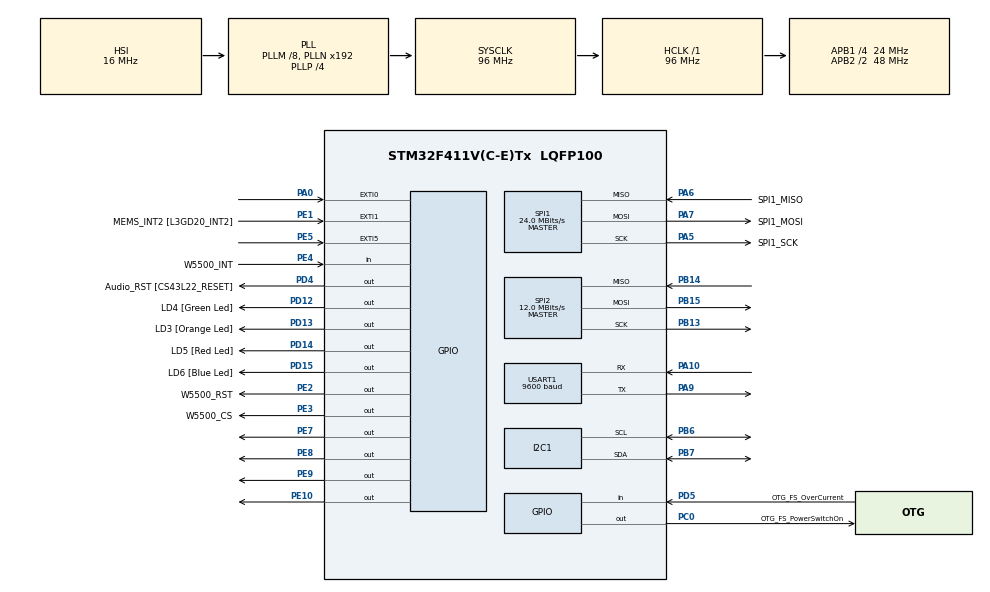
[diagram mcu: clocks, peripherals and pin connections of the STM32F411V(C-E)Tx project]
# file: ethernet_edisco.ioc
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I2C1.I2C_Mode=I2C_Fast
Mcu.Family=STM32F4
Mcu.Name=STM32F411V(C-E)Tx
Mcu.Package=LQFP100
NVIC.PriorityGroup=NVIC_PRIORITYGROUP_0
NVIC.SPI2_IRQn=true\:0\:0\:false\:false\:true\:true\:true\:true
NVIC.USART1_IRQn=true\:0\:0\:false\:false\:true\:true\:true\:true
PA0-WKUP.GPIO_ModeDefaultEXTI=GPIO_MODE_EVT_RISING
PA0-WKUP.Signal=GPXTI0
PA10.Mode=Asynchronous
PA10.Signal=USART1_RX
PA11.GPIO_Label=OTG_FS_DM
PA11.Signal=USB_OTG_FS_DM
PA12.GPIO_Label=OTG_FS_DP
PA12.Signal=USB_OTG_FS_DP
PA13.GPIO_Label=SWDIO
PA13.Signal=SYS_JTMS-SWDIO
PA14.GPIO_Label=SWCLK
PA14.Signal=SYS_JTCK-SWCLK
PA4.GPIO_Label=I2S3_WS [CS43L22_LRCK]
PA4.GPIO_Mode=GPIO_MODE_AF_PP
PA4.GPIO_PuPd=GPIO_NOPULL
PA4.GPIO_Speed=GPIO_SPEED_FREQ_LOW
PA4.Signal=I2S3_WS
PA5.GPIO_Label=SPI1_SCK
PA5.Mode=Full_Duplex_Master
PA5.Signal=SPI1_SCK
PA6.GPIO_Label=SPI1_MISO
PA6.Mode=Full_Duplex_Master
PA6.Signal=SPI1_MISO
PA7.GPIO_Label=SPI1_MOSI
PA7.Mode=Full_Duplex_Master
PA7.Signal=SPI1_MOSI
PA9.Mode=Asynchronous
PA9.Signal=USART1_TX
PB10.GPIO_Label=CLK_IN [MP45DT02_CLK]
PB10.Signal=I2S2_CK
PB12.Signal=I2S2_WS
PB13.Mode=Full_Duplex_Master
PB13.Signal=SPI2_SCK
PB14.Mode=Full_Duplex_Master
PB14.Signal=SPI2_MISO
PB15.Mode=Full_Duplex_Master
PB15.Signal=SPI2_MOSI
PB3.GPIO_Label=SWO
PB3.Signal=SYS_JTDO-SWO
PB6.Mode=I2C
PB6.Signal=I2C1_SCL
PB7.Mode=I2C
PB7.Signal=I2C1_SDA
PC0.GPIO_Label=OTG_FS_PowerSwitchOn
PC0.PinState=GPIO_PIN_SET
PC0.Signal=GPIO_Output
PC10.GPIO_Label=I2S3_SCK [CS43L22_SCLK]
PC10.GPIO_Mode=GPIO_MODE_AF_PP
PC10.GPIO_PuPd=GPIO_NOPULL
PC10.GPIO_Speed=GPIO_SPEED_FREQ_LOW
PC10.Signal=I2S3_CK
PC12.GPIO_Label=I2S3_SD [CS43L22_SDIN]
PC12.GPIO_Mode=GPIO_MODE_AF_PP
PC12.GPIO_PuPd=GPIO_NOPULL
PC12.GPIO_Speed=GPIO_SPEED_FREQ_LOW
PC12.Signal=I2S3_SD
PC14-OSC32_IN.GPIO_Label=PC14-OSC32_IN
PC14-OSC32_IN.Signal=RCC_OSC32_IN
PC15-OSC32_OUT.GPIO_Label=PC15-OSC32_OUT
PC15-OSC32_OUT.Signal=RCC_OSC32_OUT
PC3.GPIO_Label=PDM_OUT [MP45DT02_DOUT]
PC3.Signal=I2S2_SD
PC7.GPIO_Label=I2S3_MCK [CS43L22_MCLK]
PC7.GPIO_Mode=GPIO_MODE_AF_PP
PC7.GPIO_PuPd=GPIO_NOPULL
PC7.GPIO_Speed=GPIO_SPEED_FREQ_LOW
PC7.Signal=I2S3_MCK
PD12.GPIO_Label=LD4 [Green Led]
PD12.GPIO_PuPd=GPIO_NOPULL
PD12.GPIO_Speed=GPIO_SPEED_FREQ_LOW
PD12.Signal=GPIO_Output
PD13.GPIO_Label=LD3 [Orange Led]
PD13.GPIO_PuPd=GPIO_NOPULL
PD13.GPIO_Speed=GPIO_SPEED_FREQ_LOW
PD13.Signal=GPIO_Output
PD14.GPIO_Label=LD5 [Red Led]
PD14.GPIO_PuPd=GPIO_NOPULL
PD14.GPIO_Speed=GPIO_SPEED_FREQ_LOW
PD14.Signal=GPIO_Output
PD15.GPIO_Label=LD6 [Blue Led]
PD15.GPIO_PuPd=GPIO_NOPULL
PD15.GPIO_Speed=GPIO_SPEED_FREQ_LOW
PD15.Signal=GPIO_Output
PD4.GPIO_Label=Audio_RST [CS43L22_RESET]
PD4.Signal=GPIO_Output
PD5.GPIO_Label=OTG_FS_OverCurrent
PD5.Signal=GPIO_Input
PE1.GPIO_Label=MEMS_INT2 [L3GD20_INT2]
PE1.GPIO_ModeDefaultEXTI=GPIO_MODE_EVT_RISING
PE1.Signal=GPXTI1
PE10.Signal=GPIO_Output
PE2.GPIO_Label=W5500_RST
PE2.Signal=GPIO_Output
PE3.GPIO_Label=W5500_CS
PE3.Signal=GPIO_Output
PE4.GPIO_Label=W5500_INT
PE4.Signal=GPIO_Input
PE5.GPIO_ModeDefaultEXTI=GPIO_MODE_EVT_RISING
PE5.Signal=GPXTI5
PE7.Signal=GPIO_Output
PE8.Signal=GPIO_Output
PE9.Signal=GPIO_Output
PH0\ -\ OSC_IN.GPIO_Label=PH0-OSC_IN
PH0\ -\ OSC_IN.Signal=RCC_OSC_IN
PH1\ -\ OSC_OUT.GPIO_Label=PH1-OSC_OUT
PH1\ -\ OSC_OUT.Signal=RCC_OSC_OUT
ProjectManager.HeapSize=0x200
ProjectManager.StackSize=0x400
ProjectManager.TargetToolchain=STM32CubeIDE
RCC.48MHZClocksFreq_Value=48000000
RCC.AHBFreq_Value=96000000
RCC.APB1CLKDivider=RCC_HCLK_DIV4
RCC.APB1Freq_Value=24000000
RCC.APB1TimFreq_Value=48000000
RCC.APB2CLKDivider=RCC_HCLK_DIV2
RCC.APB2Freq_Value=48000000
RCC.APB2TimFreq_Value=96000000
RCC.CortexFreq_Value=96000000
RCC.HCLKFreq_Value=96000000
RCC.HSE_VALUE=8000000
RCC.HSI_VALUE=16000000
RCC.LSE_VALUE=32768
RCC.PLLI2SM=5
RCC.PLLI2SN=200
RCC.PLLM=8
RCC.PLLP=RCC_PLLP_DIV4
RCC.PLLQ=8
RCC.SYSCLKFreq_VALUE=96000000
RCC.SYSCLKSource=RCC_SYSCLKSOURCE_PLLCLK
RCC.VCOOutputFreq_Value=384000000
SPI1.CalculateBaudRate=24.0 MBits/s
SPI1.Direction=SPI_DIRECTION_2LINES
SPI1.Mode=SPI_MODE_MASTER
SPI1.VirtualType=VM_MASTER
SPI2.CalculateBaudRate=12.0 MBits/s
SPI2.Direction=SPI_DIRECTION_2LINES
SPI2.Mode=SPI_MODE_MASTER
SPI2.VirtualType=VM_MASTER
USART1.BaudRate=9600
USART1.VirtualMode=VM_ASYNC
board=STM32F411E-DISCO

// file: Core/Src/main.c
/* USER CODE BEGIN Header */
/**
  ******************************************************************************
  * @file           : main.c
  * @brief          : Main program body
  ******************************************************************************
  * @attention
  *
  * Copyright (c) 2025 STMicroelectronics.
  * All rights reserved.
  *
  * This software is licensed under terms that can be found in the LICENSE file
  * in the root directory of this software component.
  * If no LICENSE file comes with this software, it is provided AS-IS.
  *
  ******************************************************************************
  */
/* USER CODE END Header */
#include "main.h"
#include "i2c.h"
#include "spi.h"
#include "usart.h"
#include "gpio.h"

/* USER CODE BEGIN Includes */
#include "socket.h"
#include "w5500.h"
#include "wizchip_conf.h"
#include "gps.h"
#include "nmea.h"
#include "bme.h"
#include "display_ili9341.h"
#include "cli.h"
#include <stdio.h>
#include <string.h>
#include <time.h>
#include "mdns.h"

/* USER CODE END Includes */

/* USER CODE BEGIN PD */
#define HTTP_SOCKET     0
#define DHCP_SOCKET     1
#define MDNS_SOCKET     2
#define HTTP_PORT       80
#define DATA_BUF_SIZE   2048

/* USER CODE END PD */

/* USER CODE BEGIN PV */
wiz_NetInfo gWIZNETINFO = {
    .mac = {0x00, 0x08, 0xdc, 0xab, 0xcd, 0xef},
    .ip = {192, 168, 1, 177},      // Static IP fallback
    .sn = {255, 255, 255, 0},
    .gw = {192, 168, 1, 1},
    .dns = {8, 8, 8, 8}
};

uint8_t rx_tx_buf[DATA_BUF_SIZE];
static uint8_t gps_rx_byte;

bme280_data_t bme_data = {0};
gps_pos_t gps_data = {0};

uint8_t net_initialized = 0;

static uint32_t gps_last_update = 0;
static uint32_t env_last_update = 0;
static uint32_t display_last_update = 0;

const char index_html[] =
"<!DOCTYPE html><html><head><meta charset='UTF-8'>"
"<meta name='viewport' content='width=device-width,initial-scale=1'>"
"<title>STM32 Network Panel</title>"
"<style>"
"body{font-family:Arial,sans-serif;background:#f0f0f0;margin:0;padding:20px;}"
"h1{text-align:center;color:#333;}"
".container{max-width:800px;margin:0 auto;}"
".card{background:white;border-radius:8px;padding:20px;margin:15px 0;box-shadow:0 2px 8px rgba(0,0,0,0.1);}"
".card h2{margin-top:0;color:#007BFF;border-bottom:2px solid #007BFF;padding-bottom:10px;}"
".row{display:flex;justify-content:space-between;margin:10px 0;}"
".label{font-weight:bold;color:#555;}"
".value{font-size:1.3em;color:#007BFF;font-weight:bold;}"
".stale{color:#ff4444;font-size:0.85em;font-weight:bold;}"
".badge{display:inline-block;padding:3px 8px;border-radius:4px;font-size:0.8em;font-weight:bold;}"
".fix-ok{background:#00aa00;color:white;}"
".fix-no{background:#ff4444;color:white;}"
"#timestamp{text-align:center;color:#888;font-size:0.9em;margin-top:10px;}"
"</style></head><body>"
"<div class='container'>"
"<h1>STM32 Device Status</h1>"
"<div class='card'>"
"<h2>GPS Position</h2>"
"<div class='row'><span class='label'>Latitude:</span><span class='value'>--</span></div>"
"<div class='row'><span class='label'>Longitude:</span><span class='value'>--</span></div>"
"<div class='row'><span class='label'>Fix Status:</span><span class='badge fix-no'>NO FIX</span></div>"
"<div class='row'><span class='label'>Satellites:</span><span class='value'>--</span></div>"
"<div class='row'><span class='label'>UTC Time:</span><span class='value'>--</span></div>"
"</div>"
"<div class='card'>"
"<h2>Environment Sensors</h2>"
"<div class='row'><span class='label'>Temperature:</span><span class='value'>--</span> °C</div>"
"<div class='row'><span class='label'>Pressure:</span><span class='value'>--</span> hPa</div>"
"<div class='row'><span class='label'>Humidity:</span><span class='value'>--</span> %</div>"
"</div>"
"<div id='timestamp'>Connection error</div>"
"</div>"
"</body></html>";

/* USER CODE END PV */

void SystemClock_Config(void);
/* USER CODE BEGIN PFP */
#ifndef MX_USART1_UART_Init
void MX_USART1_UART_Init(void);
#endif
/* USER CODE END PFP */

/* USER CODE BEGIN 0 */
void wizchip_select(void) {
    HAL_GPIO_WritePin(W5500_CS_GPIO_Port, W5500_CS_Pin, GPIO_PIN_RESET);
}

void wizchip_deselect(void) {
    HAL_GPIO_WritePin(W5500_CS_GPIO_Port, W5500_CS_Pin, GPIO_PIN_SET);
}

uint8_t wiz_spi_readbyte(void) {
    uint8_t byte;
    HAL_SPI_Receive(&hspi2, &byte, 1, HAL_MAX_DELAY);
    return byte;
}

void wiz_spi_writebyte(uint8_t byte) {
    HAL_SPI_Transmit(&hspi2, &byte, 1, HAL_MAX_DELAY);
}

void network_init(void) {
    // Reset W5500
    HAL_GPIO_WritePin(W5500_RST_GPIO_Port, W5500_RST_Pin, GPIO_PIN_RESET);
    HAL_Delay(500);
    HAL_GPIO_WritePin(W5500_RST_GPIO_Port, W5500_RST_Pin, GPIO_PIN_SET);
    HAL_Delay(500);

    // Init socket buffers
    uint8_t memsize[8] = {2,2,2,2,2,2,2,2};
    if(wizchip_init(memsize, memsize) == -1) {
        ili9341_draw_text(10, 20, "W5500 Init FAIL!", &font6x8, 0xF800, 0x0000);
        while(1);
    }

    // Set network info
    setnetinfo(&gWIZNETINFO);
    net_initialized = 1;
}

/* --- HTTP server --- */
void http_server_process(void) {
    uint8_t sn = HTTP_SOCKET;
    uint8_t status = get_socket_status(sn);

    switch(status) {
        case W5500_SR_SOCK_ESTABLISHED: {
            uint16_t size = W5500_READ_REG16(W5500_Sn_RX_RSR0(sn));
            if(size > 0) {
                if(size > DATA_BUF_SIZE) size = DATA_BUF_SIZE;
                recv_socket(sn, rx_tx_buf, size);
                rx_tx_buf[size] = '\0';

                if(strncmp((char*)rx_tx_buf, "GET /status", 11) == 0) {
                    char json_buf[600];
                    uint32_t now = HAL_GetTick();
                    float gps_age = gps_last_update ? (float)(now - gps_last_update)/1000.0f : 999.9f;
                    float env_age = env_last_update ? (float)(now - env_last_update)/1000.0f : 999.9f;

                    char time_str[32];
                    format_utc_time(gps_data.year, gps_data.month, gps_data.day,
                                   gps_data.hour, gps_data.min, gps_data.sec,
                                   time_str, sizeof(time_str));

                    snprintf(json_buf, sizeof(json_buf),
                        "HTTP/1.1 200 OK\r\n"
                        "Content-Type: application/json\r\n"
                        "Access-Control-Allow-Origin: *\r\n"
                        "Connection: close\r\n"
                        "Cache-Control: no-cache\r\n\r\n"
                        "{"
                        "\"proto_ver\":1,"
                        "\"device_id\":\"bp-411-0007\","
                        "\"time_utc\":\"%s\","
                        "\"gps\":{\"lat\":%.6f,\"lon\":%.6f,\"fix\":%d,\"sats\":%d},"
                        "\"env\":{\"t_c\":%.1f,\"p_hpa\":%.1f,\"rh_pct\":%.1f,\"lux\":0},"
                        "\"stale_age_s\":{\"gps\":%.1f,\"env\":%.1f}"
                        "}",
                        time_str,
                        gps_data.lat_deg, gps_data.lon_deg, gps_data.fix, gps_data.sats,
                        bme_data.temperature, bme_data.pressure, bme_data.humidity,
                        gps_age, env_age
                    );
                    send_socket(sn, (uint8_t*)json_buf, strlen(json_buf));
                } else {
                    char header[] = "HTTP/1.1 200 OK\r\nContent-Type: text/html\r\nConnection: close\r\n\r\n";
                    send_socket(sn, (uint8_t*)header, strlen(header));
                    send_socket(sn, (uint8_t*)index_html, strlen(index_html));
                }

                // Disconnect client (keep socket LISTENING)
                disconnect_socket(sn);
            }
            break;
        }
        case W5500_SR_SOCK_LISTEN:
            // nothing, just waiting for connection
            break;
        case W5500_SR_SOCK_INIT:
            listen_socket(sn);
            break;
        case W5500_SR_SOCK_CLOSED:
            socket(sn, 0x01, HTTP_PORT, 0);
            listen_socket(sn);
            break;
    }
}

/* --- Display update --- */
void display_update(void) {
    char buf[50];

    printf(buf, sizeof(buf), "IP: %d.%d.%d.%d", gWIZNETINFO.ip[0], gWIZNETINFO.ip[1],
             gWIZNETINFO.ip[2], gWIZNETINFO.ip[3]);
    ili9341_draw_text(10, 10, buf, &font6x8, 0x07E0, 0x0000);

    printf(buf, sizeof(buf), "GW: %d.%d.%d.%d", gWIZNETINFO.gw[0], gWIZNETINFO.gw[1],
             gWIZNETINFO.gw[2], gWIZNETINFO.gw[3]);
    ili9341_draw_text(10, 20, buf, &font6x8, 0xFFFF, 0x0000);

    printf(buf, sizeof(buf), "T: %.1fC  H: %.1f%%  P: %.1f hPa",
             bme_data.temperature, bme_data.humidity, bme_data.pressure);
    ili9341_draw_text(10, 50, buf, &font6x8, 0xFFFF, 0x0000);

    printf(buf, sizeof(buf), "Lat: %.5f  Lon: %.5f", gps_data.lat_deg, gps_data.lon_deg);
    ili9341_draw_text(10, 90, buf, &font6x8, 0xFFFF, 0x0000);

    printf(buf, sizeof(buf), "Sats: %d  Fix: %d", gps_data.sats, gps_data.fix);
    ili9341_draw_text(10, 110, buf, &font6x8,
                     gps_data.fix >= 2 ? 0x07E0 : 0xF800, 0x0000);
}

/* UART Callback for GPS -----------------------------------------------------*/
void HAL_UART_RxCpltCallback(UART_HandleTypeDef *huart) {
    if(huart->Instance == USART1) {
        nmea_push_chunk(&gps_rx_byte, 1);
        HAL_UART_Receive_IT(&huart1, &gps_rx_byte, 1);
    }
}

void w5500_diagnostic_test(void)
{
    char buf[64];
    uint16_t y_pos = 140;

    ili9341_draw_text(10, y_pos, "=== W5500 Diagnostics ===", &font6x8, 0xFFFF, 0x0000);
    y_pos += 10;

    // Test 1: Read Version Register
    uint8_t version = W5500_READ_REG(0x0039);
    snprintf(buf, sizeof(buf), "Version: 0x%02X", version);
    ili9341_draw_text(10, y_pos, buf, &font6x8,
                     version == 0x04 ? 0x07E0 : 0xF800, 0x0000);
    y_pos += 10;

    // Test 2: Read Mode Register
    uint8_t mr = W5500_READ_REG(W5500_MR);
    snprintf(buf, sizeof(buf), "MR: 0x%02X", mr);
    ili9341_draw_text(10, y_pos, buf, &font6x8, 0xFFFF, 0x0000);
    y_pos += 10;

    // Test 3: Verify MAC Address
    uint8_t mac[6];
    for (int i = 0; i < 6; i++) {
        mac[i] = W5500_READ_REG(W5500_SHAR0 + i);
    }
    snprintf(buf, sizeof(buf), "MAC: %02X:%02X:%02X:%02X:%02X:%02X",
             mac[0], mac[1], mac[2], mac[3], mac[4], mac[5]);
    ili9341_draw_text(10, y_pos, buf, &font6x8, 0x07E0, 0x0000);
    y_pos += 10;

    // Test 4: Verify IP Address
    uint8_t ip[4];
    for (int i = 0; i < 4; i++) {
        ip[i] = W5500_READ_REG(W5500_SIPR0 + i);
    }
    snprintf(buf, sizeof(buf), "IP: %d.%d.%d.%d", ip[0], ip[1], ip[2], ip[3]);
    ili9341_draw_text(10, y_pos, buf, &font6x8, 0x07E0, 0x0000);
    y_pos += 10;

    // Test 5: Check PHY Status
    uint8_t phycfg = W5500_READ_REG(W5500_PHYCFGR);
    snprintf(buf, sizeof(buf), "PHY: 0x%02X %s", phycfg,
             (phycfg & 0x01) ? "LINK UP" : "LINK DOWN");
    ili9341_draw_text(10, y_pos, buf, &font6x8,
                     (phycfg & 0x01) ? 0x07E0 : 0xF800, 0x0000);
    y_pos += 10;

    // Test 6: Socket 0 Buffer Sizes
    uint8_t tx_size = W5500_READ_REG(W5500_Sn_TXBUF_SIZE(0));
    uint8_t rx_size = W5500_READ_REG(W5500_Sn_RXBUF_SIZE(0));
    snprintf(buf, sizeof(buf), "S0 Buf: TX=%dKB RX=%dKB", tx_size, rx_size);
    ili9341_draw_text(10, y_pos, buf, &font6x8, 0xFFFF, 0x0000);
    y_pos += 10;

    // Test 7: Socket 0 Status
    uint8_t s0_sr = W5500_READ_REG(W5500_Sn_SR(0));
    const char* status_str;
    switch(s0_sr) {
        case 0x00: status_str = "CLOSED"; break;
        case 0x13: status_str = "INIT"; break;
        case 0x14: status_str = "LISTEN"; break;
        case 0x17: status_str = "ESTABLISHED"; break;
        default: status_str = "UNKNOWN"; break;
    }
    snprintf(buf, sizeof(buf), "S0 Status: 0x%02X (%s)", s0_sr, status_str);
    ili9341_draw_text(10, y_pos, buf, &font6x8, 0xFFFF, 0x0000);
    y_pos += 10;

    ili9341_draw_text(10, y_pos, "=========================", &font6x8, 0xFFFF, 0x0000);
}

/**
 * Simple W5500 communication test
 * Returns 1 if W5500 responds correctly, 0 otherwise
 */
int w5500_quick_test(void)
{
    // Test: Write and read back a value
    uint8_t test_val = 0xAA;
    W5500_WRITE_REG(W5500_RTR0, test_val);  // Retry Time Register (safe to write)
    HAL_Delay(1);
    uint8_t read_val = W5500_READ_REG(W5500_RTR0);

    if (read_val != test_val) {
        return 0;  // Communication failed
    }

    // Test: Write and read different value
    test_val = 0x55;
    W5500_WRITE_REG(W5500_RTR0, test_val);
    HAL_Delay(1);
    read_val = W5500_READ_REG(W5500_RTR0);

    if (read_val != test_val) {
        return 0;  // Communication failed
    }

    // Restore default value
    W5500_WRITE_REG(W5500_RTR0, 0x07);
    W5500_WRITE_REG(W5500_RTR0 + 1, 0xD0);

    return 1;  // Success
}

/* Display Update ------------------------------------------------------------*/
/* USER CODE END 0 */

int main(void)
{
	HAL_Init();
	    SystemClock_Config();

	    MX_GPIO_Init();
	    MX_I2C1_Init();
	    MX_SPI1_Init();
	    MX_SPI2_Init();
	    MX_USART1_UART_Init();

	    ili9341_init(&hspi1);
	    ili9341_fill_screen(0x0000);
	    ili9341_draw_text(10, 10, "Initializing...", &font6x8, 0xFFFF, 0x0000);
	    HAL_Delay(200);
	    uint8_t mr = W5500_READ_REG(0x0000);
	    ili9341_draw_text(10, 140, mr==0?"MR OK":"MR FAIL", &font6x8, 0x07E0, 0x0000);
	    HAL_Delay(400);

	    ili9341_draw_text(10, 30, "Init W5500...", &font6x8, 0xFFFF, 0x0000);
	    HAL_Delay(100);
	    uint8_t memsize[8] = {2,2,2,2,2,2,2,2};
	    if(wizchip_init(memsize, memsize) != 0) {
	        ili9341_draw_text(10, 40, "W5500 Init FAIL!", &font6x8, 0xF800, 0x0000);
	    	HAL_Delay(500);
	        while(1);
	    }

	    // Set network info
	    setnetinfo(&gWIZNETINFO);
	    net_initialized = 1;

	    //Additional
	    mdns_init("stm32f411panel");
	    // Початковий анонс
		HAL_Delay(500);
		mdns_process(); // Відкрити сокет
		HAL_Delay(100);

	    w5500_diagnostic_test();
	    HAL_Delay(2000);

	    uint8_t sn = 0;
	    int ret = socket(sn, 0x01, 80, 0);  // TCP, port 80

	    char buf[50];
	    if (ret == 0) {
	        snprintf(buf, sizeof(buf), "Socket OPEN: SUCCESS");
	        ili9341_draw_text(10, 250, buf, &font6x8, 0x07E0, 0x0000);

	        // Check status
	        uint8_t status = get_socket_status(sn);
	        snprintf(buf, sizeof(buf), "Status: 0x%02X", status);
	        ili9341_draw_text(10, 260, buf, &font6x8, 0xFFFF, 0x0000);
	        // Should show 0x13 (INIT)
	    } else {
	        snprintf(buf, sizeof(buf), "Socket OPEN FAILED: %d", ret);
	        ili9341_draw_text(10, 250, buf, &font6x8, 0xF800, 0x0000);
	    }

	    ret = listen_socket(sn);
	    if (ret == 0) {
	        snprintf(buf, sizeof(buf), "Socket LISTEN: SUCCESS");
	        ili9341_draw_text(10, 270, buf, &font6x8, 0x07E0, 0x0000);

	        uint8_t status = get_socket_status(sn);
	        snprintf(buf, sizeof(buf), "Status: 0x%02X", status);
	        ili9341_draw_text(10, 280, buf, &font6x8, 0xFFFF, 0x0000);
	        // Should show 0x14 (LISTEN)
	    } else {
	        snprintf(buf, sizeof(buf), "Socket LISTEN FAILED: %d", ret);
	        ili9341_draw_text(10, 270, buf, &font6x8, 0xF800, 0x0000);
	    }

	    // Init sensors
	    bme280_init(&hi2c1);
	    nmea_parser_init();
	    HAL_UART_Receive_IT(&huart1, &gps_rx_byte, 1);

	    ili9341_draw_text(10, 70, "System Ready", &font6x8, 0x07E0, 0x0000);
	    HAL_Delay(200);

	    while(1)
	        {
	            uint32_t now = HAL_GetTick();

	            if(net_initialized) {
	                http_server_process();
	                mdns_process();
	            }

	            if(nmea_process()) {
	                nmea_get_position(&gps_data);
	                gps_last_update = now;
	            }

	            if(now - env_last_update > 1000) {
	                if(bme280_read(&bme_data)) env_last_update = now;
	            }

	            if(now - display_last_update > 500) {
	                display_update();
	                display_last_update = now;
	            }

	            HAL_Delay(5);
	        }
}

void SystemClock_Config(void)
{
  RCC_OscInitTypeDef RCC_OscInitStruct = {0};
  RCC_ClkInitTypeDef RCC_ClkInitStruct = {0};

  /** Configure the main internal regulator output voltage
  */
  __HAL_RCC_PWR_CLK_ENABLE();
  __HAL_PWR_VOLTAGESCALING_CONFIG(PWR_REGULATOR_VOLTAGE_SCALE1);

  /** Initializes the RCC Oscillators according to the specified parameters
  * in the RCC_OscInitTypeDef structure.
  */
  RCC_OscInitStruct.OscillatorType = RCC_OSCILLATORTYPE_HSI;
  RCC_OscInitStruct.HSIState = RCC_HSI_ON;
  RCC_OscInitStruct.HSICalibrationValue = RCC_HSICALIBRATION_DEFAULT;
  RCC_OscInitStruct.PLL.PLLState = RCC_PLL_ON;
  RCC_OscInitStruct.PLL.PLLSource = RCC_PLLSOURCE_HSI;
  RCC_OscInitStruct.PLL.PLLM = 8;
  RCC_OscInitStruct.PLL.PLLN = 192;
  RCC_OscInitStruct.PLL.PLLP = RCC_PLLP_DIV4;
  RCC_OscInitStruct.PLL.PLLQ = 8;
  if (HAL_RCC_OscConfig(&RCC_OscInitStruct) != HAL_OK)
  {
    Error_Handler();
  }

  /** Initializes the CPU, AHB and APB buses clocks
  */
  RCC_ClkInitStruct.ClockType = RCC_CLOCKTYPE_HCLK|RCC_CLOCKTYPE_SYSCLK
                              |RCC_CLOCKTYPE_PCLK1|RCC_CLOCKTYPE_PCLK2;
  RCC_ClkInitStruct.SYSCLKSource = RCC_SYSCLKSOURCE_PLLCLK;
  RCC_ClkInitStruct.AHBCLKDivider = RCC_SYSCLK_DIV1;
  RCC_ClkInitStruct.APB1CLKDivider = RCC_HCLK_DIV4;
  RCC_ClkInitStruct.APB2CLKDivider = RCC_HCLK_DIV2;

  if (HAL_RCC_ClockConfig(&RCC_ClkInitStruct, FLASH_LATENCY_3) != HAL_OK)
  {
    Error_Handler();
  }
}

void Error_Handler(void)
{
  __disable_irq();
  while (1)
  {
  }
}
